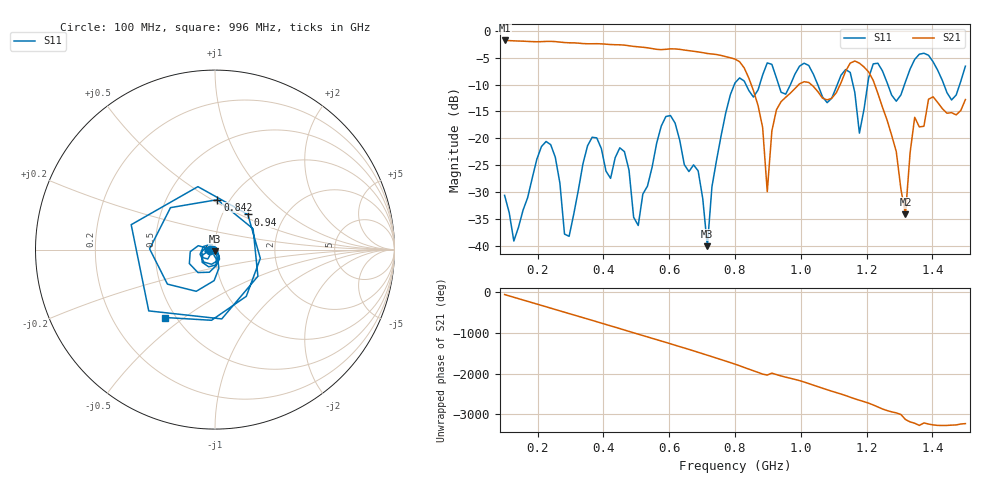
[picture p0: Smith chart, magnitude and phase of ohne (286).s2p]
! NanoVNA-App
! Date: 2025-09-25 14:23:01
! Start: 100MHz Stop: 1,5GHz Points: 101
! S-Parameter data: F S11 S21 S12 S22
# Hz S RI R 50
!  Frequency  S11_Real  S11_Imag  S21_Real  S21_Imag  S12_Real  S12_Imag  S22_Real  S22_Imag
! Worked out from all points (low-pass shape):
!   101 points, 100 MHz to 1.5 GHz, reference 50 ohm
!   highest |S21| = -1.79 dB at 100 MHz (marker M1); lowest = -34.1 dB at 1.318 GHz (marker M2)
!   |S21| within 3 dB of the highest: start of sweep to 771.1 MHz
!   lowest |S11| = -40.1 dB at 716 MHz (marker M3), VSWR 1.02, Z = 49.7 - j0.947 ohm
!   |S11| at or under -10 dB: start of sweep to 798 MHz; 833.2 MHz to 875.1 MHz (41.89 MHz wide, 4.9 % of centre); 1.051 GHz to 1.111 GHz (59.58 MHz wide, 5.51 % of centre) (the widest 3 of 7)
!   S12 and S22 are empty: the file has one direction only
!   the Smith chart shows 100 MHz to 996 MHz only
!   S11 on the Smith chart (normalised r, x): 100 MHz: 0.94, -0.01; 842 MHz: 0.88, +0.53; 940 MHz: 1.31, +0.56; 996 MHz: 0.44, -0.43
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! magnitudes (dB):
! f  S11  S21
! 100 MHz  -30.6  -1.8
! 128 MHz  -39.1  -1.9
! 226 MHz  -20.6  -2.0
! 296 MHz  -38.3  -2.2
! 338 MHz  -24.8  -2.4
! 464 MHz  -22.5  -2.7
! 506 MHz  -36.2  -3.0
! 576 MHz  -17.7  -3.5
! 688 MHz  -26.1  -3.9
! 716 MHz  -40.1  -4.2
! 800 MHz  -9.7  -5.3
! 842 MHz  -11.1  -8.8
! 898 MHz  -6.0  -30.0
! 940 MHz  -11.4  -13.2
! 996 MHz  -6.6  -9.9
! 1.038 GHz  -8.1  -10.3
! 1.178 GHz  -19.0  -6.0
! 1.22 GHz  -6.2  -9.2
! 1.276 GHz  -12.0  -19.5
! 1.318 GHz  -9.5  -34.1
! 1.346 GHz  -5.3  -16.1
! 1.5 GHz  -6.6  -12.8
